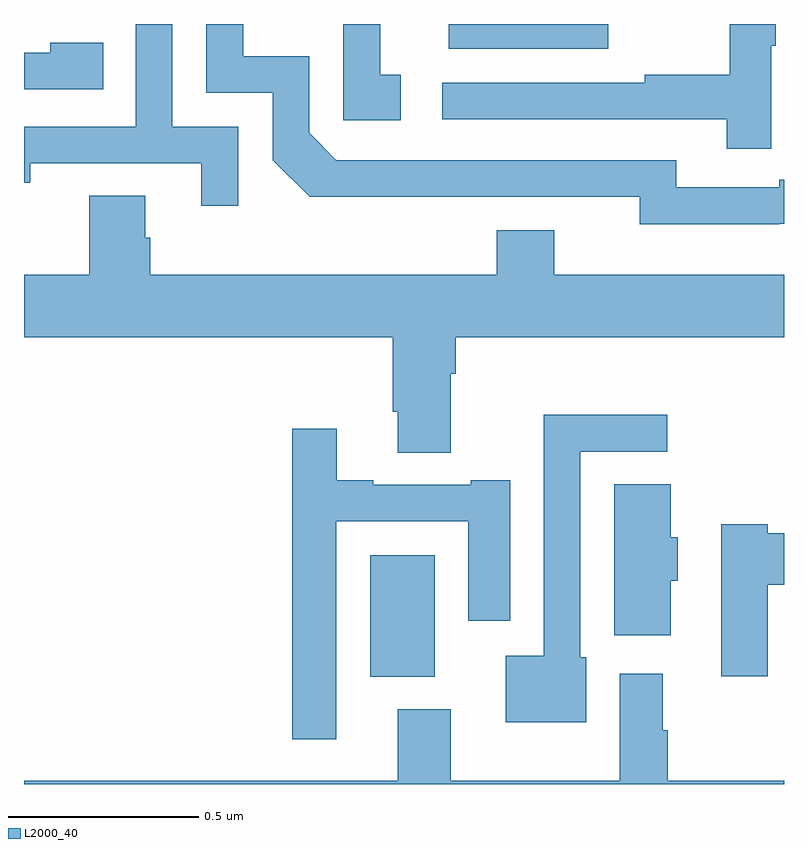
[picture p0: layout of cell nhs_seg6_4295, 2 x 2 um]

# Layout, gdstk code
import gdstk
lib = gdstk.Library(unit=1e-6, precision=1e-09)
def R(c, l, rs):  # rectangles x0, y0, x1, y1
    for r in rs: c.add(gdstk.rectangle(r[:2], r[2:], *l))
def P(c, l, *ps):  # polygons
    for p in ps: c.add(gdstk.Polygon(p, *l))
L2000_40 = (2000, 40)

nhs_seg6_4295 = lib.new_cell('nhs_seg6_4295')
R(nhs_seg6_4295, L2000_40, [(168.911,939.782,169.081,940.102), (169.118,941.435,169.537,941.5)])
P(nhs_seg6_4295, L2000_40, [(169.988,940.974),(170,940.974),(170,941.09),(169.988,941.09),(169.988,941.07),(169.716,941.07),(169.716,941.142),(168.822,941.142),(168.75,941.214),(168.75,941.415),(168.577,941.415),(168.577,941.5),(168.48,941.5),(168.48,941.319),(168.654,941.319),(168.654,941.142),(168.752,941.045),(169.16,941.045),(169.16,941.046),(169.62,941.046),(169.62,940.973),(169.988,940.973)],
  [(168.564,941.229),(168.39,941.229),(168.39,941.5),(168.294,941.5),(168.294,941.229),(168,941.229),(168,941.082),(168.016,941.082),(168.016,941.133),(168.467,941.133),(168.467,941.022),(168.564,941.022)],
  [(168.991,941.367),(168.938,941.367),(168.938,941.5),(168.84,941.5),(168.84,941.247),(168.991,941.247)],
  [(169.967,941.443),(169.978,941.443),(169.978,941.5),(169.857,941.5),(169.857,941.366),(169.633,941.366),(169.633,941.346),(169.101,941.346),(169.101,941.25),(169.849,941.25),(169.849,941.172),(169.967,941.172)],
  [(168.209,941.451),(168.069,941.451),(168.069,941.424),(168,941.424),(168,941.328),(168.209,941.328)],
  [(169.123,940.58),(169.136,940.58),(169.136,940.676),(170,940.676),(170,940.84),(169.396,940.84),(169.396,940.957),(169.244,940.957),(169.244,940.84),(168.332,940.84),(168.332,940.938),(168.319,940.938),(168.319,941.048),(168.172,941.048),(168.172,940.84),(168,940.84),(168,940.676),(168.971,940.676),(168.971,940.48),(168.983,940.48),(168.983,940.372),(169.123,940.372)],
  [(169.48,939.834),(169.464,939.834),(169.464,940.374),(169.693,940.374),(169.693,940.472),(169.368,940.472),(169.368,939.838),(169.268,939.838),(169.268,939.662),(169.48,939.662)],
  [(168.822,940.191),(169.169,940.191),(169.169,939.93),(169.279,939.93),(169.279,940.3),(169.175,940.3),(169.175,940.287),(168.919,940.287),(168.919,940.3),(168.823,940.3),(168.823,940.435),(168.706,940.435),(168.706,939.618),(168.822,939.618)],
  [(169.702,940.035),(169.72,940.035),(169.72,940.149),(169.702,940.149),(169.702,940.289),(169.553,940.289),(169.553,939.891),(169.702,939.891)],
  [(169.957,940.024),(170,940.024),(170,940.16),(169.957,940.16),(169.957,940.184),(169.835,940.184),(169.835,939.783),(169.957,939.783)],
  [(169.568,939.79),(169.568,939.508),(169.123,939.508),(169.123,939.697),(168.983,939.697),(168.983,939.508),(168,939.508),(168,939.5),(170,939.5),(170,939.508),(169.694,939.508),(169.694,939.641),(169.681,939.641),(169.681,939.79)])

lib.write_gds('nhs_seg6_4295.gds')
